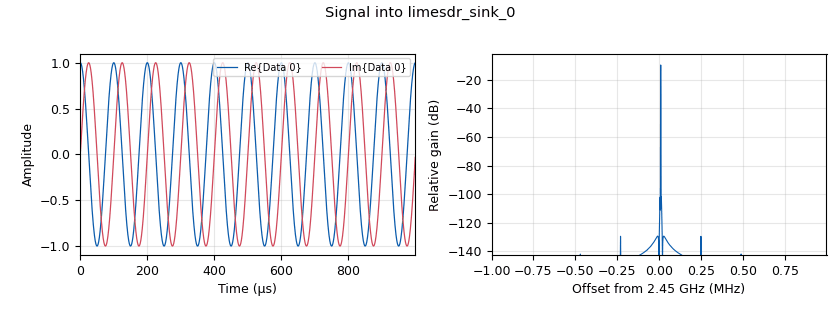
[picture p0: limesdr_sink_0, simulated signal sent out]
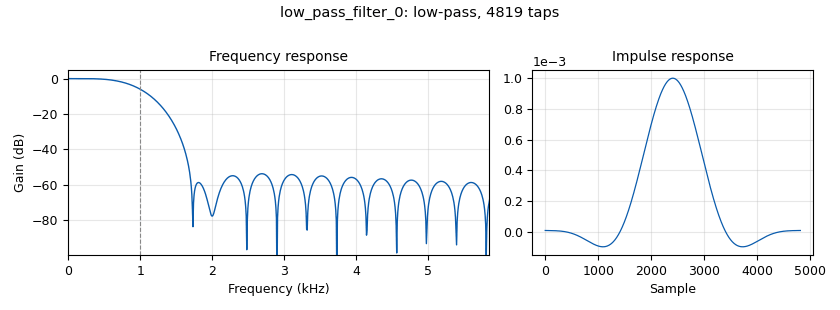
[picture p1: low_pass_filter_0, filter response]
<?xml version='1.0' encoding='utf-8'?>
<?grc format='1' created='3.7.12'?>
<flow_graph>
<block>
<key>options</key>
<param><key>id</key><value>top_block</value></param>
<param><key>generate_options</key><value>qt_gui</value></param>
</block>
<block>
<key>variable</key>
<param><key>id</key><value>decim</value></param>
<param><key>value</key><value>512*4</value></param>
</block>
<block>
<key>variable</key>
<param><key>id</key><value>fft_size</value></param>
<param><key>value</key><value>512</value></param>
</block>
<block>
<key>variable</key>
<param><key>id</key><value>samp_rate</value></param>
<param><key>value</key><value>2000000</value></param>
</block>
<block>
<key>analog_agc_xx</key>
<param><key>id</key><value>analog_agc_xx_0</value></param>
<param><key>gain</key><value>1.0</value></param>
<param><key>max_gain</key><value>65536</value></param>
<param><key>rate</key><value>1e-4</value></param>
<param><key>reference</key><value>1.0</value></param>
<param><key>type</key><value>complex</value></param>
</block>
<block>
<key>analog_agc_xx</key>
<param><key>id</key><value>analog_agc_xx_0_0</value></param>
<param><key>gain</key><value>1.0</value></param>
<param><key>max_gain</key><value>65536</value></param>
<param><key>rate</key><value>1e-4</value></param>
<param><key>reference</key><value>1.0</value></param>
<param><key>type</key><value>complex</value></param>
</block>
<block>
<key>analog_sig_source_x</key>
<param><key>id</key><value>analog_sig_source_x_0</value></param>
<param><key>amp</key><value>1</value></param>
<param><key>freq</key><value>10e3</value></param>
<param><key>offset</key><value>0</value></param>
<param><key>type</key><value>complex</value></param>
<param><key>samp_rate</key><value>samp_rate</value></param>
<param><key>waveform</key><value>analog.GR_COS_WAVE</value></param>
</block>
<block>
<key>blks2_tcp_sink</key>
<param><key>id</key><value>blks2_tcp_sink_0</value></param>
<param><key>addr</key><value>127.0.0.1</value></param>
<param><key>_enabled</key><value>0</value></param>
<param><key>type</key><value>float</value></param>
<param><key>server</key><value>False</value></param>
<param><key>port</key><value>3321</value></param>
<param><key>vlen</key><value>1</value></param>
</block>
<block>
<key>blocks_complex_to_mag</key>
<param><key>id</key><value>blocks_complex_to_mag_0</value></param>
<param><key>vlen</key><value>fft_size</value></param>
</block>
<block>
<key>blocks_complex_to_real</key>
<param><key>id</key><value>blocks_complex_to_real_0</value></param>
<param><key>_enabled</key><value>0</value></param>
</block>
<block>
<key>blocks_complex_to_real</key>
<param><key>id</key><value>blocks_complex_to_real_0_0</value></param>
<param><key>_enabled</key><value>0</value></param>
</block>
<block>
<key>blocks_complex_to_real</key>
<param><key>id</key><value>blocks_complex_to_real_0_1</value></param>
<param><key>_enabled</key><value>0</value></param>
</block>
<block>
<key>blocks_keep_one_in_n</key>
<param><key>id</key><value>blocks_keep_one_in_n_0</value></param>
<param><key>_enabled</key><value>0</value></param>
<param><key>n</key><value>int(1e6)</value></param>
<param><key>type</key><value>float</value></param>
</block>
<block>
<key>blocks_moving_average_xx</key>
<param><key>id</key><value>blocks_moving_average_xx_0</value></param>
<param><key>_enabled</key><value>0</value></param>
<param><key>length</key><value>1000</value></param>
<param><key>max_iter</key><value>4000</value></param>
<param><key>scale</key><value>1e-3</value></param>
<param><key>type</key><value>float</value></param>
</block>
<block>
<key>blocks_multiply_conjugate_cc</key>
<param><key>id</key><value>blocks_multiply_conjugate_cc_0</value></param>
</block>
<block>
<key>blocks_stream_to_vector</key>
<param><key>id</key><value>blocks_stream_to_vector_0</value></param>
<param><key>type</key><value>complex</value></param>
<param><key>num_items</key><value>fft_size</value></param>
</block>
<block>
<key>blocks_udp_sink</key>
<param><key>id</key><value>blocks_udp_sink_0_0</value></param>
<param><key>ipaddr</key><value>10.10.1.7</value></param>
<param><key>port</key><value>3333</value></param>
<param><key>type</key><value>complex</value></param>
<param><key>psize</key><value>1472</value></param>
<param><key>eof</key><value>True</value></param>
<param><key>vlen</key><value>1</value></param>
</block>
<block>
<key>blocks_vector_to_stream</key>
<param><key>id</key><value>blocks_vector_to_stream_0</value></param>
<param><key>type</key><value>float</value></param>
<param><key>num_items</key><value>fft_size</value></param>
</block>
<block>
<key>fft_vxx</key>
<param><key>id</key><value>fft_vxx_0_0_0</value></param>
<param><key>fft_size</key><value>fft_size</value></param>
<param><key>forward</key><value>False</value></param>
<param><key>type</key><value>complex</value></param>
<param><key>nthreads</key><value>8</value></param>
<param><key>shift</key><value>True</value></param>
<param><key>window</key><value>window.blackmanharris(fft_size)</value></param>
</block>
<block>
<key>limesdr_sink</key>
<param><key>id</key><value>limesdr_sink_0</value></param>
<param><key>channel</key><value>0</value></param>
<param><key>analog_filter_ch0</key><value>1</value></param>
<param><key>cmix_mode_ch0</key><value>0</value></param>
<param><key>calibr_bandw_ch0</key><value>10e6</value></param>
<param><key>calibration_ch0</key><value>0</value></param>
<param><key>digital_bandw_ch0</key><value>0</value></param>
<param><key>digital_filter_ch0</key><value>0</value></param>
<param><key>gain_dB_ch0</key><value>50</value></param>
<param><key>pa_path_ch0</key><value>1</value></param>
<param><key>pa_path_mini</key><value>1</value></param>
<param><key>analog_filter_ch1</key><value>1</value></param>
<param><key>cmix_mode_ch1</key><value>0</value></param>
<param><key>calibr_bandw_ch1</key><value>10e6</value></param>
<param><key>calibration_ch1</key><value>0</value></param>
<param><key>digital_bandw_ch1</key><value>0</value></param>
<param><key>digital_filter_ch1</key><value>0</value></param>
<param><key>gain_dB_ch1</key><value>30</value></param>
<param><key>pa_path_ch1</key><value>1</value></param>
<param><key>chip_mode</key><value>1</value></param>
<param><key>serial</key><value>1D3AD55F42C0AB</value></param>
<param><key>device_type</key><value>1</value></param>
<param><key>file_switch</key><value>0</value></param>
<param><key>oversample</key><value>0</value></param>
<param><key>rf_freq</key><value>2.45e9</value></param>
<param><key>samp_rate</key><value>samp_rate</value></param>
</block>
<block>
<key>limesdr_source</key>
<param><key>id</key><value>limesdr_source_0</value></param>
<param><key>channel</key><value>0</value></param>
<param><key>analog_bandw_ch0</key><value>5e6</value></param>
<param><key>analog_filter_ch0</key><value>1</value></param>
<param><key>cmix_mode_ch0</key><value>0</value></param>
<param><key>calibr_bandw_ch0</key><value>10e6</value></param>
<param><key>calibration_ch0</key><value>0</value></param>
<param><key>digital_bandw_ch0</key><value>0</value></param>
<param><key>digital_filter_ch0</key><value>0</value></param>
<param><key>gain_dB_ch0</key><value>50</value></param>
<param><key>lna_path_ch0</key><value>2</value></param>
<param><key>lna_path_mini</key><value>1</value></param>
<param><key>analog_bandw_ch1</key><value>5e6</value></param>
<param><key>analog_filter_ch1</key><value>1</value></param>
<param><key>cmix_mode_ch1</key><value>0</value></param>
<param><key>calibr_bandw_ch1</key><value>10e6</value></param>
<param><key>calibration_ch1</key><value>0</value></param>
<param><key>digital_bandw_ch1</key><value>0</value></param>
<param><key>digital_filter_ch1</key><value>0</value></param>
<param><key>gain_dB_ch1</key><value>30</value></param>
<param><key>chip_mode</key><value>1</value></param>
<param><key>serial</key><value>1D3AD55F42C0AB</value></param>
<param><key>device_type</key><value>1</value></param>
<param><key>file_switch</key><value>0</value></param>
<param><key>oversample</key><value>0</value></param>
<param><key>rf_freq</key><value>2.45e9</value></param>
<param><key>samp_rate</key><value>samp_rate</value></param>
</block>
<block>
<key>low_pass_filter</key>
<param><key>id</key><value>low_pass_filter_0</value></param>
<param><key>cutoff_freq</key><value>1e3</value></param>
<param><key>decim</key><value>decim</value></param>
<param><key>type</key><value>fir_filter_ccf</value></param>
<param><key>gain</key><value>1</value></param>
<param><key>samp_rate</key><value>samp_rate</value></param>
<param><key>width</key><value>1e3</value></param>
<param><key>win</key><value>firdes.WIN_HAMMING</value></param>
</block>
<block>
<key>qtgui_number_sink</key>
<param><key>id</key><value>qtgui_number_sink_0_0</value></param>
<param><key>_enabled</key><value>0</value></param>
<param><key>graph_type</key><value>qtgui.NUM_GRAPH_NONE</value></param>
<param><key>type</key><value>float</value></param>
<param><key>name</key><value>Multiply Conjugate</value></param>
</block>
<block>
<key>qtgui_time_raster_sink_x</key>
<param><key>id</key><value>qtgui_time_raster_sink_x_0</value></param>
<param><key>name</key><value>"Mag"</value></param>
<param><key>ncols</key><value>fft_size</value></param>
<param><key>nrows</key><value>256</value></param>
<param><key>samp_rate</key><value>samp_rate</value></param>
<param><key>type</key><value>float</value></param>
</block>
<block>
<key>qtgui_time_sink_x</key>
<param><key>id</key><value>qtgui_time_sink_x_0</value></param>
<param><key>_enabled</key><value>0</value></param>
<param><key>color1</key><value>"blue"</value></param>
<param><key>label1</key><value></value></param>
<param><key>color2</key><value>"red"</value></param>
<param><key>label2</key><value></value></param>
<param><key>nconnections</key><value>2</value></param>
<param><key>size</key><value>1024</value></param>
<param><key>srate</key><value>samp_rate</value></param>
<param><key>tr_mode</key><value>qtgui.TRIG_MODE_AUTO</value></param>
<param><key>type</key><value>float</value></param>
</block>
<block>
<key>qtgui_time_sink_x</key>
<param><key>id</key><value>qtgui_time_sink_x_1</value></param>
<param><key>_enabled</key><value>0</value></param>
<param><key>color1</key><value>"blue"</value></param>
<param><key>label1</key><value></value></param>
<param><key>size</key><value>1024</value></param>
<param><key>srate</key><value>samp_rate</value></param>
<param><key>type</key><value>float</value></param>
</block>
<block>
<key>qtgui_waterfall_sink_x</key>
<param><key>id</key><value>qtgui_waterfall_sink_x_0</value></param>
<param><key>bw</key><value>samp_rate/decim</value></param>
<param><key>fc</key><value>0</value></param>
<param><key>fftsize</key><value>fft_size</value></param>
<param><key>showports</key><value>True</value></param>
<param><key>type</key><value>complex</value></param>
<param><key>wintype</key><value>firdes.WIN_BLACKMAN_hARRIS</value></param>
</block>
<connection><source_block_id>analog_agc_xx_0</source_block_id><sink_block_id>blocks_complex_to_real_0</sink_block_id><source_key>0</source_key><sink_key>0</sink_key></connection>
<connection><source_block_id>analog_agc_xx_0</source_block_id><sink_block_id>blocks_multiply_conjugate_cc_0</sink_block_id><source_key>0</source_key><sink_key>0</sink_key></connection>
<connection><source_block_id>analog_agc_xx_0_0</source_block_id><sink_block_id>blocks_complex_to_real_0_0</sink_block_id><source_key>0</source_key><sink_key>0</sink_key></connection>
<connection><source_block_id>analog_agc_xx_0_0</source_block_id><sink_block_id>blocks_multiply_conjugate_cc_0</sink_block_id><source_key>0</source_key><sink_key>1</sink_key></connection>
<connection><source_block_id>analog_sig_source_x_0</source_block_id><sink_block_id>analog_agc_xx_0</sink_block_id><source_key>0</source_key><sink_key>0</sink_key></connection>
<connection><source_block_id>analog_sig_source_x_0</source_block_id><sink_block_id>limesdr_sink_0</sink_block_id><source_key>0</source_key><sink_key>0</sink_key></connection>
<connection><source_block_id>blocks_complex_to_mag_0</source_block_id><sink_block_id>blocks_vector_to_stream_0</sink_block_id><source_key>0</source_key><sink_key>0</sink_key></connection>
<connection><source_block_id>blocks_complex_to_real_0</source_block_id><sink_block_id>qtgui_time_sink_x_0</sink_block_id><source_key>0</source_key><sink_key>1</sink_key></connection>
<connection><source_block_id>blocks_complex_to_real_0_0</source_block_id><sink_block_id>qtgui_time_sink_x_0</sink_block_id><source_key>0</source_key><sink_key>0</sink_key></connection>
<connection><source_block_id>blocks_complex_to_real_0_1</source_block_id><sink_block_id>blocks_moving_average_xx_0</sink_block_id><source_key>0</source_key><sink_key>0</sink_key></connection>
<connection><source_block_id>blocks_keep_one_in_n_0</source_block_id><sink_block_id>blks2_tcp_sink_0</sink_block_id><source_key>0</source_key><sink_key>0</sink_key></connection>
<connection><source_block_id>blocks_moving_average_xx_0</source_block_id><sink_block_id>blocks_keep_one_in_n_0</sink_block_id><source_key>0</source_key><sink_key>0</sink_key></connection>
<connection><source_block_id>blocks_moving_average_xx_0</source_block_id><sink_block_id>qtgui_number_sink_0_0</sink_block_id><source_key>0</source_key><sink_key>0</sink_key></connection>
<connection><source_block_id>blocks_moving_average_xx_0</source_block_id><sink_block_id>qtgui_time_sink_x_1</sink_block_id><source_key>0</source_key><sink_key>0</sink_key></connection>
<connection><source_block_id>blocks_multiply_conjugate_cc_0</source_block_id><sink_block_id>blocks_complex_to_real_0_1</sink_block_id><source_key>0</source_key><sink_key>0</sink_key></connection>
<connection><source_block_id>blocks_multiply_conjugate_cc_0</source_block_id><sink_block_id>low_pass_filter_0</sink_block_id><source_key>0</source_key><sink_key>0</sink_key></connection>
<connection><source_block_id>blocks_stream_to_vector_0</source_block_id><sink_block_id>fft_vxx_0_0_0</sink_block_id><source_key>0</source_key><sink_key>0</sink_key></connection>
<connection><source_block_id>blocks_vector_to_stream_0</source_block_id><sink_block_id>qtgui_time_raster_sink_x_0</sink_block_id><source_key>0</source_key><sink_key>0</sink_key></connection>
<connection><source_block_id>fft_vxx_0_0_0</source_block_id><sink_block_id>blocks_complex_to_mag_0</sink_block_id><source_key>0</source_key><sink_key>0</sink_key></connection>
<connection><source_block_id>limesdr_source_0</source_block_id><sink_block_id>analog_agc_xx_0_0</sink_block_id><source_key>0</source_key><sink_key>0</sink_key></connection>
<connection><source_block_id>low_pass_filter_0</source_block_id><sink_block_id>blocks_stream_to_vector_0</sink_block_id><source_key>0</source_key><sink_key>0</sink_key></connection>
<connection><source_block_id>low_pass_filter_0</source_block_id><sink_block_id>blocks_udp_sink_0_0</sink_block_id><source_key>0</source_key><sink_key>0</sink_key></connection>
<connection><source_block_id>low_pass_filter_0</source_block_id><sink_block_id>qtgui_waterfall_sink_x_0</sink_block_id><source_key>0</source_key><sink_key>0</sink_key></connection>
</flow_graph>
